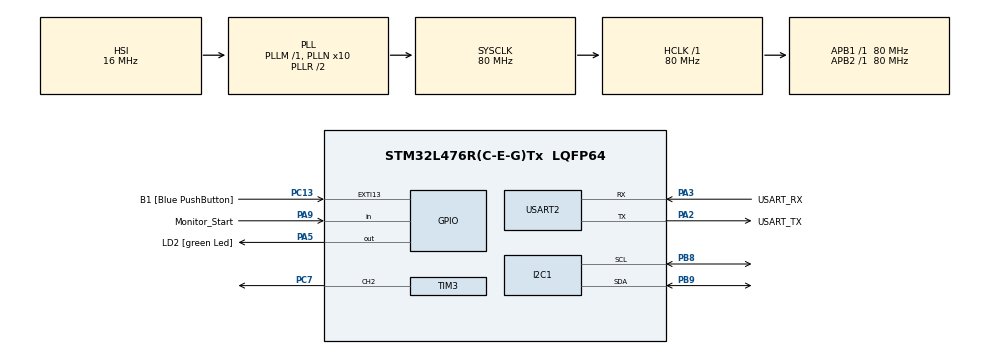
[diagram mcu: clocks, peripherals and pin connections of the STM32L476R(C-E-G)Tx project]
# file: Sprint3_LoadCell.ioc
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FREERTOS.Tasks01=defaultTask,24,128,StartDefaultTask,Default,NULL,Dynamic,NULL,NULL
FREERTOS.configMAX_TASK_NAME_LEN=48
FREERTOS.configTOTAL_HEAP_SIZE=8000
FREERTOS.configUSE_NEWLIB_REENTRANT=1
I2C1.Timing=0x10D19CE4
Mcu.Family=STM32L4
Mcu.Name=STM32L476R(C-E-G)Tx
Mcu.Package=LQFP64
NVIC.I2C1_ER_IRQn=true\:5\:0\:false\:false\:true\:true\:true\:true\:true
NVIC.I2C1_EV_IRQn=true\:5\:0\:false\:false\:true\:true\:true\:true\:true
NVIC.PriorityGroup=NVIC_PRIORITYGROUP_4
NVIC.TIM6_DAC_IRQn=true\:15\:0\:false\:false\:true\:false\:false\:true\:true
NVIC.TimeBase=TIM6_DAC_IRQn
NVIC.TimeBaseIP=TIM6
PA13\ (JTMS-SWDIO).GPIO_Label=TMS
PA13\ (JTMS-SWDIO).Signal=SYS_JTMS-SWDIO
PA14\ (JTCK-SWCLK).GPIO_Label=TCK
PA14\ (JTCK-SWCLK).Signal=SYS_JTCK-SWCLK
PA2.GPIO_Label=USART_TX
PA2.GPIO_Mode=GPIO_MODE_AF_PP
PA2.GPIO_PuPd=GPIO_NOPULL
PA2.GPIO_Speed=GPIO_SPEED_FREQ_VERY_HIGH
PA2.Mode=Asynchronous
PA2.Signal=USART2_TX
PA3.GPIO_Label=USART_RX
PA3.GPIO_Mode=GPIO_MODE_AF_PP
PA3.GPIO_PuPd=GPIO_NOPULL
PA3.GPIO_Speed=GPIO_SPEED_FREQ_VERY_HIGH
PA3.Mode=Asynchronous
PA3.Signal=USART2_RX
PA5.GPIO_Label=LD2 [green Led]
PA5.GPIO_ModeDefaultOutputPP=GPIO_MODE_OUTPUT_PP
PA5.GPIO_PuPd=GPIO_NOPULL
PA5.GPIO_Speed=GPIO_SPEED_FREQ_LOW
PA5.Signal=GPIO_Output
PA9.GPIO_Label=Monitor_Start
PA9.GPIO_PuPd=GPIO_PULLDOWN
PA9.Signal=GPIO_Input
PB3\ (JTDO-TRACESWO).GPIO_Label=SWO
PB3\ (JTDO-TRACESWO).Signal=SYS_JTDO-SWO
PB8.Mode=I2C
PB8.Signal=I2C1_SCL
PB9.Mode=I2C
PB9.Signal=I2C1_SDA
PC13.GPIO_Label=B1 [Blue PushButton]
PC13.GPIO_ModeDefaultEXTI=GPIO_MODE_IT_FALLING
PC13.GPIO_PuPd=GPIO_NOPULL
PC13.Signal=GPXTI13
PC14-OSC32_IN\ (PC14).Signal=RCC_OSC32_IN
PC15-OSC32_OUT\ (PC15).Signal=RCC_OSC32_OUT
PC7.Signal=S_TIM3_CH2
PH0-OSC_IN\ (PH0).Signal=RCC_OSC_IN
PH1-OSC_OUT\ (PH1).Signal=RCC_OSC_OUT
ProjectManager.HeapSize=0x200
ProjectManager.StackSize=0x400
ProjectManager.TargetToolchain=STM32CubeIDE
RCC.ADCFreq_Value=64000000
RCC.AHBFreq_Value=80000000
RCC.APB1Freq_Value=80000000
RCC.APB1TimFreq_Value=80000000
RCC.APB2Freq_Value=80000000
RCC.APB2TimFreq_Value=80000000
RCC.CortexFreq_Value=80000000
RCC.HCLKFreq_Value=80000000
RCC.HSE_VALUE=8000000
RCC.HSI_VALUE=16000000
RCC.LSE_VALUE=32768
RCC.MSI_VALUE=4000000
RCC.PLLN=10
RCC.PLLSourceVirtual=RCC_PLLSOURCE_HSI
RCC.PREFETCH_ENABLE=1
RCC.SYSCLKFreq_VALUE=80000000
RCC.SYSCLKSource=RCC_SYSCLKSOURCE_PLLCLK
RCC.USBFreq_Value=64000000
RCC.VCOOutputFreq_Value=160000000
SH.S_TIM3_CH2.0=TIM3_CH2,PWM Generation2 CH2
TIM3.Channel-PWM\ Generation2\ CH2=TIM_CHANNEL_2
USART2.VirtualMode-Asynchronous=VM_ASYNC
VP_FREERTOS_VS_CMSIS_V2.Mode=CMSIS_V2
VP_SYS_VS_tim6.Mode=TIM6
board=NUCLEO-L476RG

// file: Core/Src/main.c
/* USER CODE BEGIN Header */
/**
  ******************************************************************************
  * @file           : main.c
  * @brief          : Main program body
  ******************************************************************************
  * @attention
  *
  * Copyright (c) 2026 STMicroelectronics.
  * All rights reserved.
  *
  * This software is licensed under terms that can be found in the LICENSE file
  * in the root directory of this software component.
  * If no LICENSE file comes with this software, it is provided AS-IS.
  *
  ******************************************************************************
  */
/* USER CODE END Header */
#include "main.h"
#include "cmsis_os.h"

/* USER CODE BEGIN Includes */
#include <stdio.h>
#include "nau7802.h"
#include "FreeRTOS.h"
#include "task.h"
#include <string.h>
#include "queue.h"
/* USER CODE END Includes */

/* USER CODE BEGIN PD */
/* NAU7802 I2C Address */

/* Register Addresses */

/* USER CODE END PD */

I2C_HandleTypeDef hi2c1;

TIM_HandleTypeDef htim3;

UART_HandleTypeDef huart2;

/* Definitions for defaultTask */
osThreadId_t defaultTaskHandle;
const osThreadAttr_t defaultTask_attributes = {
  .name = "defaultTask",
  .stack_size = 128 * 4,
  .priority = (osPriority_t) osPriorityNormal,
};
/* USER CODE BEGIN PV */
int32_t rawValue;
int32_t tare;
char uartBuffer[50];
int32_t zeroReading;
float calibrationFactor = 789.950980;
struct weight_grams{
	float weight;
	};
struct weight_grams W;
struct uart_output{
	float weight_read;
	};
struct uart_output UART;
struct weight_level{
	int level;
	};
struct weight_level lvl;
volatile float prev_weight = 9999;
volatile float monitoring_weight;
volatile char currentTaskName[configMAX_TASK_NAME_LEN];
volatile uint8_t taskNameUpdated = 0;
BaseType_t result;
QueueHandle_t weight_queue;
QueueHandle_t uart_queue;
QueueHandle_t status_queue;

/* USER CODE END PV */

void SystemClock_Config(void);
static void MX_GPIO_Init(void);
static void MX_I2C1_Init(void);
static void MX_USART2_UART_Init(void);
static void MX_TIM3_Init(void);
void StartDefaultTask(void *argument);

/* USER CODE BEGIN PFP */
void sendmessageTask(void *argument);
void LoadCellTask(void *argument);
void MonitorTask(void *argument);
void actuatorTask(void *argument);
/* USER CODE END PFP */

int main(void)
{

  /* MCU Configuration--------------------------------------------------------*/

  /* Reset of all peripherals, Initializes the Flash interface and the Systick. */
  HAL_Init();

  /* USER CODE BEGIN Init */
  xTaskCreate(
	  sendmessageTask,             // Task function
      "sendmessageTask",           // Task name
      256,                        // Stack size
      NULL,                       // No parameter
      1,                          // Priority
      NULL                        // Don't need handle yet
  );

  xTaskCreate(
      LoadCellTask,
      "LoadCellTask",
      256,
      NULL,
      1,
      NULL
  );

  xTaskCreate(
      MonitorTask,
      "MonitorTask",
      256,
      NULL,
      1,
      NULL
  );

  xTaskCreate(
		actuatorTask,
        "actuatorTask",
        256,
        NULL,
        1,
        NULL
    );

  /* USER CODE END Init */

  /* Configure the system clock */
  SystemClock_Config();

  /* Initialize all configured peripherals */
  MX_GPIO_Init();
  MX_I2C1_Init();
  MX_USART2_UART_Init();
  MX_TIM3_Init();
  /* USER CODE BEGIN 2 */
  if (NAU7802_Init() != HAL_OK)
  {
      Error_Handler();
  }

  /* USER CODE END 2 */

  /* Init scheduler */
  osKernelInitialize();

  /* USER CODE BEGIN RTOS_QUEUES */
  /* add queues, ... */
  weight_queue = xQueueCreate(4, sizeof(struct weight_grams));
  uart_queue = xQueueCreate(4, sizeof(struct uart_output));
  status_queue = xQueueCreate(4, sizeof(struct weight_level));
  /* USER CODE END RTOS_QUEUES */

  /* Create the thread(s) */
  /* creation of defaultTask */
  defaultTaskHandle = osThreadNew(StartDefaultTask, NULL, &defaultTask_attributes);

  /* Start scheduler */
  osKernelStart();

  /* We should never get here as control is now taken by the scheduler */

  /* Infinite loop */
  while (1)
  {

  }
}

void SystemClock_Config(void)
{
  RCC_OscInitTypeDef RCC_OscInitStruct = {0};
  RCC_ClkInitTypeDef RCC_ClkInitStruct = {0};

  /** Configure the main internal regulator output voltage
  */
  if (HAL_PWREx_ControlVoltageScaling(PWR_REGULATOR_VOLTAGE_SCALE1) != HAL_OK)
  {
    Error_Handler();
  }

  /** Initializes the RCC Oscillators according to the specified parameters
  * in the RCC_OscInitTypeDef structure.
  */
  RCC_OscInitStruct.OscillatorType = RCC_OSCILLATORTYPE_HSI;
  RCC_OscInitStruct.HSIState = RCC_HSI_ON;
  RCC_OscInitStruct.HSICalibrationValue = RCC_HSICALIBRATION_DEFAULT;
  RCC_OscInitStruct.PLL.PLLState = RCC_PLL_ON;
  RCC_OscInitStruct.PLL.PLLSource = RCC_PLLSOURCE_HSI;
  RCC_OscInitStruct.PLL.PLLM = 1;
  RCC_OscInitStruct.PLL.PLLN = 10;
  RCC_OscInitStruct.PLL.PLLP = RCC_PLLP_DIV7;
  RCC_OscInitStruct.PLL.PLLQ = RCC_PLLQ_DIV2;
  RCC_OscInitStruct.PLL.PLLR = RCC_PLLR_DIV2;
  if (HAL_RCC_OscConfig(&RCC_OscInitStruct) != HAL_OK)
  {
    Error_Handler();
  }

  /** Initializes the CPU, AHB and APB buses clocks
  */
  RCC_ClkInitStruct.ClockType = RCC_CLOCKTYPE_HCLK|RCC_CLOCKTYPE_SYSCLK
                              |RCC_CLOCKTYPE_PCLK1|RCC_CLOCKTYPE_PCLK2;
  RCC_ClkInitStruct.SYSCLKSource = RCC_SYSCLKSOURCE_PLLCLK;
  RCC_ClkInitStruct.AHBCLKDivider = RCC_SYSCLK_DIV1;
  RCC_ClkInitStruct.APB1CLKDivider = RCC_HCLK_DIV1;
  RCC_ClkInitStruct.APB2CLKDivider = RCC_HCLK_DIV1;

  if (HAL_RCC_ClockConfig(&RCC_ClkInitStruct, FLASH_LATENCY_4) != HAL_OK)
  {
    Error_Handler();
  }
}

static void MX_I2C1_Init(void)
{

  hi2c1.Instance = I2C1;
  hi2c1.Init.Timing = 0x10D19CE4;
  hi2c1.Init.OwnAddress1 = 0;
  hi2c1.Init.AddressingMode = I2C_ADDRESSINGMODE_7BIT;
  hi2c1.Init.DualAddressMode = I2C_DUALADDRESS_DISABLE;
  hi2c1.Init.OwnAddress2 = 0;
  hi2c1.Init.OwnAddress2Masks = I2C_OA2_NOMASK;
  hi2c1.Init.GeneralCallMode = I2C_GENERALCALL_DISABLE;
  hi2c1.Init.NoStretchMode = I2C_NOSTRETCH_DISABLE;
  if (HAL_I2C_Init(&hi2c1) != HAL_OK)
  {
    Error_Handler();
  }

  /** Configure Analogue filter
  */
  if (HAL_I2CEx_ConfigAnalogFilter(&hi2c1, I2C_ANALOGFILTER_ENABLE) != HAL_OK)
  {
    Error_Handler();
  }

  /** Configure Digital filter
  */
  if (HAL_I2CEx_ConfigDigitalFilter(&hi2c1, 0) != HAL_OK)
  {
    Error_Handler();
  }

}

static void MX_TIM3_Init(void)
{

  TIM_MasterConfigTypeDef sMasterConfig = {0};
  TIM_OC_InitTypeDef sConfigOC = {0};

  htim3.Instance = TIM3;
  htim3.Init.Prescaler = 0;
  htim3.Init.CounterMode = TIM_COUNTERMODE_UP;
  htim3.Init.Period = 65535;
  htim3.Init.ClockDivision = TIM_CLOCKDIVISION_DIV1;
  htim3.Init.AutoReloadPreload = TIM_AUTORELOAD_PRELOAD_DISABLE;
  if (HAL_TIM_PWM_Init(&htim3) != HAL_OK)
  {
    Error_Handler();
  }
  sMasterConfig.MasterOutputTrigger = TIM_TRGO_RESET;
  sMasterConfig.MasterSlaveMode = TIM_MASTERSLAVEMODE_DISABLE;
  if (HAL_TIMEx_MasterConfigSynchronization(&htim3, &sMasterConfig) != HAL_OK)
  {
    Error_Handler();
  }
  sConfigOC.OCMode = TIM_OCMODE_PWM1;
  sConfigOC.Pulse = 0;
  sConfigOC.OCPolarity = TIM_OCPOLARITY_HIGH;
  sConfigOC.OCFastMode = TIM_OCFAST_DISABLE;
  if (HAL_TIM_PWM_ConfigChannel(&htim3, &sConfigOC, TIM_CHANNEL_2) != HAL_OK)
  {
    Error_Handler();
  }
  HAL_TIM_MspPostInit(&htim3);

}

static void MX_USART2_UART_Init(void)
{

  huart2.Instance = USART2;
  huart2.Init.BaudRate = 115200;
  huart2.Init.WordLength = UART_WORDLENGTH_8B;
  huart2.Init.StopBits = UART_STOPBITS_1;
  huart2.Init.Parity = UART_PARITY_NONE;
  huart2.Init.Mode = UART_MODE_TX_RX;
  huart2.Init.HwFlowCtl = UART_HWCONTROL_NONE;
  huart2.Init.OverSampling = UART_OVERSAMPLING_16;
  huart2.Init.OneBitSampling = UART_ONE_BIT_SAMPLE_DISABLE;
  huart2.AdvancedInit.AdvFeatureInit = UART_ADVFEATURE_NO_INIT;
  if (HAL_UART_Init(&huart2) != HAL_OK)
  {
    Error_Handler();
  }

}

static void MX_GPIO_Init(void)
{
  GPIO_InitTypeDef GPIO_InitStruct = {0};

  /* GPIO Ports Clock Enable */
  __HAL_RCC_GPIOC_CLK_ENABLE();
  __HAL_RCC_GPIOH_CLK_ENABLE();
  __HAL_RCC_GPIOA_CLK_ENABLE();
  __HAL_RCC_GPIOB_CLK_ENABLE();

  /*Configure GPIO pin Output Level */
  HAL_GPIO_WritePin(LD2_GPIO_Port, LD2_Pin, GPIO_PIN_RESET);

  /*Configure GPIO pin : B1_Pin */
  GPIO_InitStruct.Pin = B1_Pin;
  GPIO_InitStruct.Mode = GPIO_MODE_IT_FALLING;
  GPIO_InitStruct.Pull = GPIO_NOPULL;
  HAL_GPIO_Init(B1_GPIO_Port, &GPIO_InitStruct);

  /*Configure GPIO pin : LD2_Pin */
  GPIO_InitStruct.Pin = LD2_Pin;
  GPIO_InitStruct.Mode = GPIO_MODE_OUTPUT_PP;
  GPIO_InitStruct.Pull = GPIO_NOPULL;
  GPIO_InitStruct.Speed = GPIO_SPEED_FREQ_LOW;
  HAL_GPIO_Init(LD2_GPIO_Port, &GPIO_InitStruct);

  /*Configure GPIO pin : Monitor_Start_Pin */
  GPIO_InitStruct.Pin = Monitor_Start_Pin;
  GPIO_InitStruct.Mode = GPIO_MODE_INPUT;
  GPIO_InitStruct.Pull = GPIO_PULLDOWN;
  HAL_GPIO_Init(Monitor_Start_GPIO_Port, &GPIO_InitStruct);

}

/* USER CODE BEGIN 4 */
void sendmessageTask(void *argument)
{
    char uartBuffer[100];

    struct uart_output recieved_weight;

    struct weight_level recieved_status;

    TickType_t lastUartTime = xTaskGetTickCount();
    GPIO_PinState currentState =
        HAL_GPIO_ReadPin(Monitor_Start_GPIO_Port,
                         Monitor_Start_Pin);

    for (;;)
    {
    	if(xQueueReceive(status_queue, &recieved_status, pdMS_TO_TICKS(400)) == pdPASS){

    		int weight_status = recieved_status.level;

			if(xQueueReceive(uart_queue, &recieved_weight, pdMS_TO_TICKS(400)) == pdPASS){

				float weight_to_print = recieved_weight.weight_read;

				if ((xTaskGetTickCount() - lastUartTime) >=
					pdMS_TO_TICKS(100) && (weight_to_print != prev_weight)) //Confirm Time between sends is appropriate
																		//and weight actually changed
				{
					int len;

					switch (weight_status)
					{
						case 0:
							len = snprintf(
								uartBuffer,
								sizeof(uartBuffer),
								"Weight: %.3f g | MonitorW: %.3f g | MButton: %d\r\n",
								weight_to_print,
								monitoring_weight,
								currentState
							);
							break;

						case 1:
							len = snprintf(
								uartBuffer,
								sizeof(uartBuffer),
								"Weight: %.3f g - RUNNING LOW\r\n",
								weight_to_print
							);
							break;

						case 2:
							len = snprintf(
								uartBuffer,
								sizeof(uartBuffer),
								"Weight: %.3f g - RAN OUT\r\n",
								weight_to_print
							);
							break;

						default:
							len = snprintf(
								uartBuffer,
								sizeof(uartBuffer),
								"Weight status error\r\n"
							);
							break;
					}

					HAL_UART_Transmit(
						&huart2,
						(uint8_t *)uartBuffer,
						len,
						HAL_MAX_DELAY
					);

					lastUartTime = xTaskGetTickCount();
				}

				//Store current weight as previous weight after printing
				prev_weight = weight_to_print;

				/* Check monitoring/button every 20 ms */
				vTaskDelay(pdMS_TO_TICKS(20));

			}
		}

    }
}

void LoadCellTask(void *argument)
{
    for (;;)
    {
        GPIO_PinState currentState =
            HAL_GPIO_ReadPin(Monitor_Start_GPIO_Port,
                             Monitor_Start_Pin);

    	// Read load cell
        if (NAU7802_ReadRaw(&rawValue) == HAL_OK)
        {
            // Tare when button is pressed
            if (HAL_GPIO_ReadPin(B1_GPIO_Port, B1_Pin) == GPIO_PIN_RESET)
            {
                tare = rawValue;
            }

            // Remove tare offset
            zeroReading = rawValue - tare;

            // Convert ADC counts to grams
            W.weight = zeroReading / calibrationFactor;

            if (currentState == GPIO_PIN_SET)
            	{
                	// Save starting/reference weight
                	monitoring_weight = W.weight;
            	}
            	vTaskDelay(pdMS_TO_TICKS(500));

            if(xQueueSend(weight_queue, &W, pdMS_TO_TICKS(300) != pdPASS) &&
            xQueueSend(uart_queue, &W, pdMS_TO_TICKS(300)) != pdPASS){

            	int send = snprintf(uartBuffer, sizeof(uartBuffer),"Queue send failed");

            	HAL_UART_Transmit(&huart2, (uint8_t *)uartBuffer, send,HAL_MAX_DELAY);
            }

        }
        vTaskDelay(pdMS_TO_TICKS(500));
    }
}

void MonitorTask(void *argument)
{
    struct weight_grams recieved_weight;

    for (;;)
    {
    	if(xQueueReceive(weight_queue, &recieved_weight,  pdMS_TO_TICKS(300)) == pdPASS){

    		float weight_in = recieved_weight.weight;

			if (monitoring_weight > 0.0f)
			{
				// Less than 10% remaining
				if (weight_in < monitoring_weight * 0.10f)
				{
					lvl.level = 2;
				}

				// Less than 20% remaining
				else if (weight_in < monitoring_weight * 0.20f)
				{
					lvl.level = 1;
				}
				else
				{
					lvl.level = 0;
				}
			}
			else
			{
				lvl.level = 0;
			}

			xQueueSend(status_queue, &lvl, pdMS_TO_TICKS(300));

		}
    	vTaskDelay(pdMS_TO_TICKS(500));
    }

}
void actuatorTask(void *argument)
{
    uint32_t frequency = 0;
    uint32_t ARR;
    short int previous_status = -1;
    struct weight_level recieved_level;

    // Start PWM with output OFF
        __HAL_TIM_SET_COMPARE(&htim3, TIM_CHANNEL_2, 0);

        if (HAL_TIM_PWM_Start(&htim3, TIM_CHANNEL_2) != HAL_OK)
        {
            Error_Handler();
        }

    if(xQueueReceive(status_queue, &recieved_level,  pdMS_TO_TICKS(300)) == pdPASS)
    {

    	for (;;)
    	{
    		short int status = recieved_level.level;

    		// Update PWM only when weight status changes
    		if (status != previous_status)
    		{
    			switch (status)
    			{
                	case 0:
                		// Normal weight - Buzzer OFF
                		frequency = 0;
                		break ;

					case 1:
						// Running Low - Lower pitch
						frequency = 1000;
						break;

					case 2:
						// Ran Out - High pitch, near maximum loudness
						frequency = 3200;
						break;

					default:
						// Invalid status - Buzzer OFF
						frequency = 0;
						break;
				}

            if (frequency > 0)
            {
                // TIM3 clock = 80 MHz, Prescaler = 0
                ARR = (80000000UL / frequency) - 1UL;

                // Temporarily disable PWM pulses
                __HAL_TIM_SET_COMPARE(&htim3, TIM_CHANNEL_2, 0);

                // Update PWM frequency
                __HAL_TIM_SET_COUNTER(&htim3, 0);
                __HAL_TIM_SET_AUTORELOAD(&htim3, ARR);

                // Set 50% duty cycle
                __HAL_TIM_SET_COMPARE(&htim3, TIM_CHANNEL_2,
                                      (ARR + 1UL) / 2UL);
            }
            else
            {
                // Buzzer OFF
                __HAL_TIM_SET_COMPARE(&htim3, TIM_CHANNEL_2, 0);
            }

            previous_status = status;
    		}

        vTaskDelay(pdMS_TO_TICKS(100));
    	}

    }
}

/* USER CODE END 4 */

void StartDefaultTask(void *argument)
{
  for(;;)
  {
    osDelay(1);
  }
}

void HAL_TIM_PeriodElapsedCallback(TIM_HandleTypeDef *htim)
{
  if (htim->Instance == TIM6)
  {
    HAL_IncTick();
  }
}

void Error_Handler(void)
{
  __disable_irq();
  while (1)
  {
  }
}
